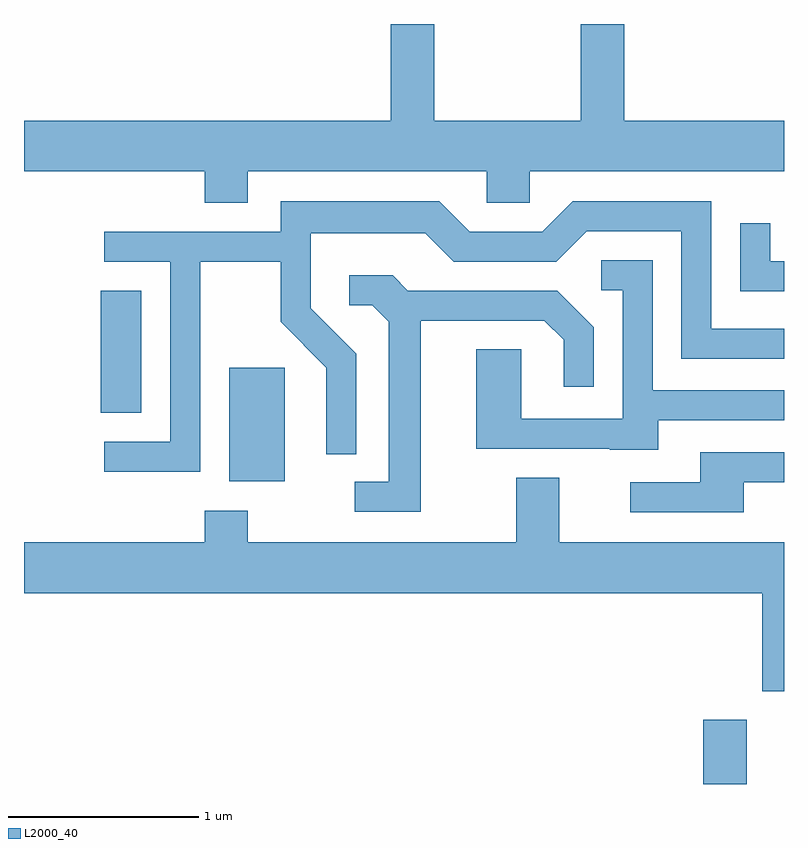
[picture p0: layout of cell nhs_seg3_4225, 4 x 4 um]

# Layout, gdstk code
import gdstk
lib = gdstk.Library(unit=1e-6, precision=1e-09)
def R(c, l, rs):  # rectangles x0, y0, x1, y1
    for r in rs: c.add(gdstk.rectangle(r[:2], r[2:], *l))
def P(c, l, *ps):  # polygons
    for p in ps: c.add(gdstk.Polygon(p, *l))
L2000_40 = (2000, 40)

nhs_seg3_4225 = lib.new_cell('nhs_seg3_4225')
R(nhs_seg3_4225, L2000_40, [(313.186,1133.892,313.414,1134.229), (310.691,1135.486,310.984,1136.084), (310.016,1135.846,310.229,1136.489)])
P(nhs_seg3_4225, L2000_40, [(310.789,1137.116),(312.046,1137.116),(312.046,1136.951),(312.274,1136.951),(312.274,1137.116),(313.611,1137.116),(313.611,1137.384),(312.769,1137.384),(312.769,1137.892),(312.541,1137.892),(312.541,1137.384),(311.769,1137.384),(311.769,1137.892),(311.541,1137.892),(311.541,1137.384),(309.611,1137.384),(309.611,1137.116),(310.561,1137.116),(310.561,1136.951),(310.789,1136.951)],
  [(310.539,1136.641),(310.961,1136.641),(310.961,1136.324),(311.201,1136.084),(311.201,1135.628),(311.359,1135.628),(311.359,1136.157),(311.119,1136.397),(311.119,1136.791),(311.724,1136.791),(311.874,1136.641),(312.412,1136.641),(312.572,1136.801),(313.071,1136.801),(313.071,1136.131),(313.611,1136.131),(313.611,1136.289),(313.229,1136.289),(313.229,1136.959),(312.499,1136.959),(312.339,1136.799),(311.957,1136.799),(311.797,1136.959),(310.961,1136.959),(310.961,1136.799),(310.033,1136.799),(310.033,1136.641),(310.381,1136.641),(310.381,1135.694),(310.033,1135.694),(310.033,1135.536),(310.539,1135.536)],
  [(313.611,1136.644),(313.539,1136.644),(313.539,1136.843),(313.381,1136.843),(313.381,1136.486),(313.611,1136.486)],
  [(312.949,1135.806),(313.611,1135.806),(313.611,1135.964),(312.919,1135.964),(312.919,1136.649),(312.648,1136.649),(312.648,1136.491),(312.761,1136.491),(312.761,1135.814),(312.229,1135.814),(312.229,1136.179),(311.991,1136.179),(311.991,1135.656),(312.695,1135.656),(312.695,1135.651),(312.949,1135.651)],
  [(311.699,1136.331),(312.349,1136.331),(312.451,1136.229),(312.451,1135.983),(312.609,1135.983),(312.609,1136.297),(312.417,1136.489),(311.632,1136.489),(311.552,1136.569),(311.323,1136.569),(311.323,1136.411),(311.444,1136.411),(311.531,1136.324),(311.531,1135.484),(311.353,1135.484),(311.353,1135.326),(311.699,1135.326)],
  [(313.399,1135.481),(313.611,1135.481),(313.611,1135.639),(313.171,1135.639),(313.171,1135.479),(312.803,1135.479),(312.803,1135.321),(313.399,1135.321)],
  [(313.611,1135.164),(312.429,1135.164),(312.429,1135.504),(312.201,1135.504),(312.201,1135.164),(310.789,1135.164),(310.789,1135.329),(310.561,1135.329),(310.561,1135.164),(309.611,1135.164),(309.611,1134.896),(313.496,1134.896),(313.496,1134.381),(313.611,1134.381)])

lib.write_gds('nhs_seg3_4225.gds')
